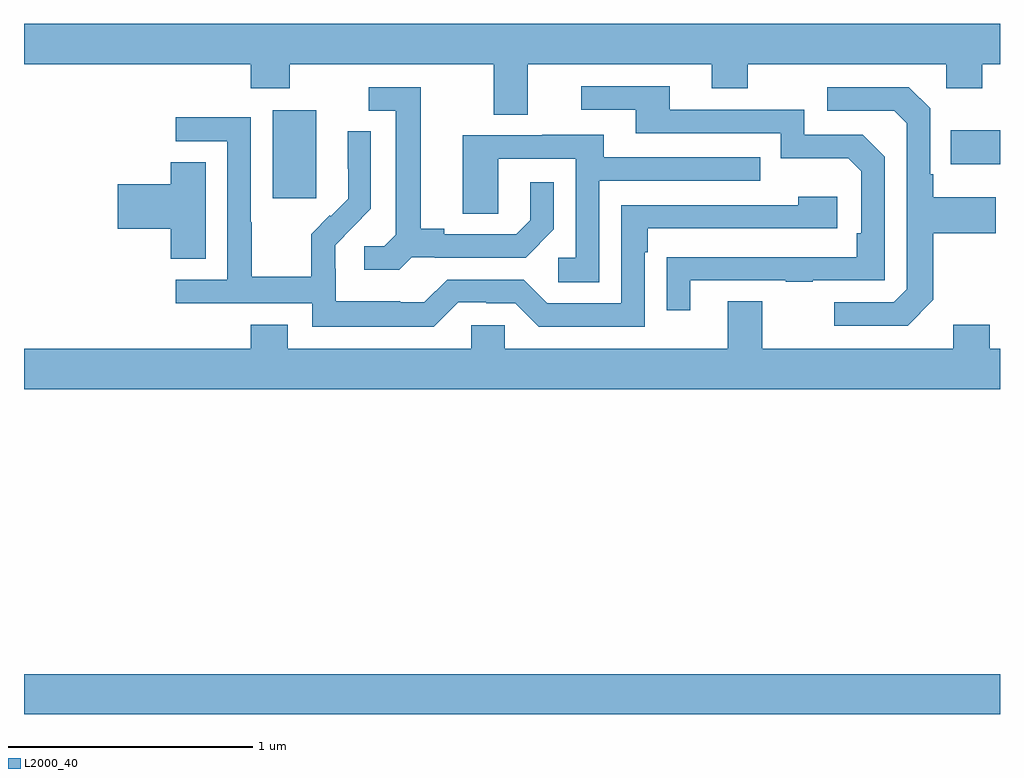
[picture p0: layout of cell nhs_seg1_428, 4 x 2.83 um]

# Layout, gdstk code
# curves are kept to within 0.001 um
import gdstk
lib = gdstk.Library(unit=1e-6, precision=1e-09)
def R(c, l, rs):  # rectangles x0, y0, x1, y1
    for r in rs: c.add(gdstk.rectangle(r[:2], r[2:], *l))
def P(c, l, *ps):  # polygons
    for p in ps: c.add(gdstk.Polygon(p, *l))
L2000_40 = (2000, 40)

nhs_seg1_428 = lib.new_cell('nhs_seg1_428')
R(nhs_seg1_428, L2000_40, [(135,518.432,139,518.596), (136.019,520.545,136.198,520.906), (138.799,520.685,139,520.825)])
P(nhs_seg1_428, L2000_40, [(137.065,521.096),(137.819,521.096),(137.819,520.997),(137.967,520.997),(137.967,521.096),(138.78,521.096),(138.78,520.997),(138.927,520.997),(138.927,521.096),(139,521.096),(139,521.26),(135,521.26),(135,521.096),(135.929,521.096),(135.929,520.997),(136.089,520.997),(136.089,521.096),(136.925,521.096),(136.925,520.888),(137.065,520.888)],
  [(137.731,520.209),(138.121,520.209),(138.121,520.204),(138.233,520.204),(138.233,520.209),(138.528,520.209),(138.528,520.716),(138.438,520.806),(138.198,520.806),(138.198,520.908),(137.647,520.908),(137.647,521.004),(137.283,521.004),(137.283,520.908),(137.507,520.908),(137.507,520.812),(138.102,520.812),(138.102,520.709),(138.379,520.709),(138.432,520.656),(138.432,520.402),(138.412,520.402),(138.412,520.305),(137.635,520.304),(137.635,520.086),(137.731,520.086)],
  [(138.727,520.129),(138.727,520.402),(138.983,520.402),(138.983,520.549),(138.727,520.549),(138.727,520.645),(138.714,520.645),(138.714,520.914),(138.627,521.001),(138.291,521.001),(138.291,520.905),(138.567,520.905),(138.618,520.854),(138.618,520.173),(138.564,520.119),(138.321,520.119),(138.321,520.023),(138.621,520.023)],
  [(136.59,520.305),(136.684,520.305),(136.684,520.302),(137.056,520.302),(137.172,520.418),(137.172,520.612),(137.075,520.612),(137.075,520.455),(137.018,520.398),(136.723,520.398),(136.723,520.421),(136.627,520.421),(136.627,521.001),(136.413,521.001),(136.413,520.905),(136.523,520.905),(136.523,520.397),(136.476,520.35),(136.395,520.35),(136.395,520.253),(136.538,520.253)],
  [(136.779,520.119),(136.895,520.119),(136.895,520.116),(137.013,520.116),(137.109,520.02),(137.544,520.02),(137.544,520.325),(137.557,520.325),(137.557,520.422),(138.334,520.422),(138.334,520.552),(138.173,520.552),(138.173,520.518),(137.448,520.518),(137.448,520.116),(137.145,520.116),(137.049,520.212),(136.734,520.212),(136.641,520.119),(136.541,520.119),(136.541,520.123),(136.278,520.123),(136.278,520.257),(136.276,520.257),(136.276,520.354),(136.422,520.502),(136.422,520.82),(136.326,520.82),(136.326,520.666),(136.328,520.666),(136.328,520.544),(136.257,520.473),(136.254,520.476),(136.177,520.399),(136.177,520.225),(135.933,520.225),(135.933,520.448),(135.93,520.448),(135.93,520.878),(135.621,520.878),(135.621,520.779),(135.834,520.779),(135.834,520.212),(135.621,520.212),(135.621,520.116),(136.182,520.116),(136.182,520.019),(136.679,520.019)],
  [(137.358,520.617),(138.017,520.617),(138.017,520.713),(137.377,520.713),(137.377,520.807),(137.123,520.807),(137.123,520.803),(136.799,520.803),(136.799,520.483),(136.944,520.483),(136.944,520.707),(137.262,520.707),(137.262,520.302),(137.19,520.302),(137.19,520.201),(137.358,520.201)],
  [(135.745,520.694),(135.602,520.694),(135.602,520.604),(135.384,520.604),(135.384,520.421),(135.602,520.421),(135.602,520.297),(135.745,520.297)],
  [(139,519.928),(138.957,519.928),(138.957,520.027),(138.809,520.027),(138.809,519.928),(138.025,519.928),(138.025,520.123),(137.885,520.123),(137.885,519.928),(136.971,519.928),(136.971,520.026),(136.833,520.026),(136.833,519.928),(136.081,519.928),(136.081,520.027),(135.929,520.027),(135.929,519.928),(135,519.928),(135,519.764),(139,519.764)])

lib.write_gds('nhs_seg1_428.gds')
